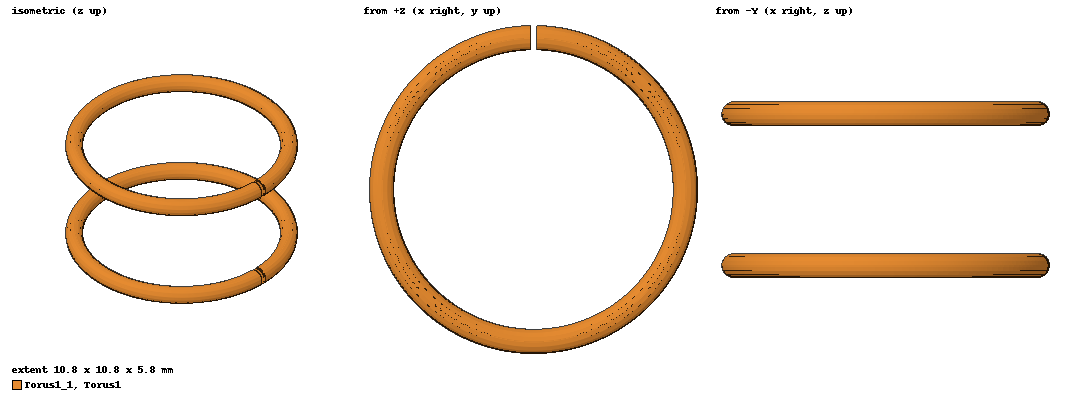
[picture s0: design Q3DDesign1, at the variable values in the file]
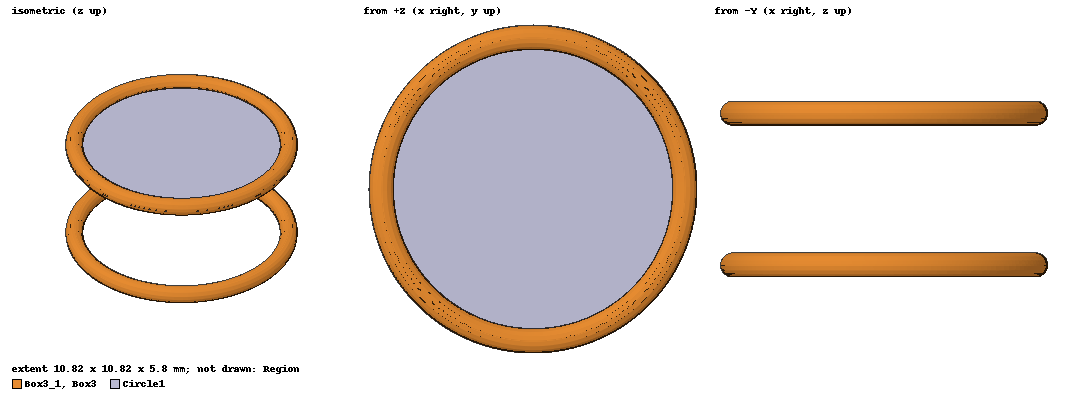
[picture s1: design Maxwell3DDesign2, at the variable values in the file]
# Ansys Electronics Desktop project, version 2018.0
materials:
  vacuum: permittivity=1
  copper: permeability=0.999991 conductivity=58000000

design Q3DDesign1 (Q3D Extractor, model units mm)
options: SParamCalcMethod=EqTransLine Calculate_Lossy_Dielectrics
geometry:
  Torus1 [copper] = torus(axis=Z, centre=(0mm, 0mm, 0mm), major_radius=5mm, minor_radius=0.4mm)
  Box1 = box(corner=(-0.1mm, 5.5mm, -0.5mm), size=(0.2mm, -1mm, 1mm))
  Torus1.subtract(Box1)
  Torus1_1 [copper] = Torus1.duplicate_along_line(step=(0mm, 0mm, 5mm), total=2)
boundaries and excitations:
  Torus1: SignalNet Objects=Torus1
  Torus2: SignalNet Objects=Torus1_1
  Sink1: Sink Faces=Torus1.face(at (0.1, 4.99899, 0)) Net=Torus1
  Source1: Source Faces=Torus1.face(at (-0.1, 4.99899, 0)) Net=Torus1
  Source2: Source Faces=Torus1_1.face(1 of 3) Net=Torus2
  Sink2: Sink Faces=Torus1_1.face(2 of 3) Net=Torus2
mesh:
  SurfApprox1: SurfApproxBased Faces=Torus1.face(all 3) Torus1_1.face(all 3) CurvedSurfaceApproxChoice=UseSlider SliderMeshSettings=9
  initial mesh: GlobalSurfApproximation{CurvedSurfaceApproxChoice=UseSlider SliderMeshSettings=9}
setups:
  Setup1: Matrix AdaptiveFreq=1GHz Cap{MaxPass=10 MinPass=1 MinConvPass=1 PerError=1 PerRefine=30 AutoIncreaseSolutionOrder SolutionOrder=High} DC{Cond{MaxPass=10 MinPass=1 MinConvPass=1 PerError=1 PerRefine=30} Mult{MaxPass=1 MinPass=1 MinConvPass=1 PerError=1 PerRefine=30} Solution_Order=Normal} AC{MaxPass=10 MinPass=1 MinConvPass=1 PerError=1 PerRefine=30}
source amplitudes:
  Torus1:Source1: AC 1A
  Torus2:Source2: AC 0A
  Torus1: Cap 1V 0deg
  Torus2: Cap 0V 0deg
  Torus1:Source1: DC 1A
  Torus2:Source2: DC 0A

design Maxwell3DDesign2 (Maxwell 3D, Magnetostatic, model units mm)
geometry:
  Torus1 = torus(axis=Z, centre=(0mm, 0mm, 0mm), major_radius=5mm, minor_radius=0.4mm)
  Box1 = box(corner=(-0.1mm, 5.5mm, -0.5mm), size=(0.2mm, -1mm, 1mm))
  Torus1.subtract(Box1)
  Torus1_1 = Torus1.duplicate_along_line(step=(0mm, 0mm, 5mm), total=2)
  Region [vacuum] = region(percentage_offset=150 on all sides)
  Rectangle1 = rectangle(corner=(-0.1mm, 4.6mm, -0.4mm), y_size=0.8mm, z_size=0.8mm)
  Rectangle1.intersect(Torus1)
  Torus3 = torus(axis=Z, centre=(0mm, 0mm, 0mm), major_radius=5mm, minor_radius=0.4mm)
  Box3 [copper] = box(corner=(-0.1mm, 5.5mm, -0.5mm), size=(0.2mm, -1mm, 1mm))
  Circle1 = circle(normal=Z, centre=(0mm, 0mm, 0mm), radius=5.4083269mm)
  Circle1.move(0mm, 0mm, 5mm)
  Box3.intersect(Torus3)
  Torus4 = torus(axis=Z, centre=(0mm, 0mm, 0mm), major_radius=5mm, minor_radius=0.4mm)
  Box4 = box(corner=(-0.1mm, 5.5mm, -0.5mm), size=(0.2mm, -1mm, 1mm))
  Torus4.subtract(Box4)
  Box3_1 [copper] = Box3.duplicate_along_line(step=(0mm, 0mm, 5mm), total=2)
  Box3.unite(Torus4)
  Box3_1.unite(Torus1_1)
  Box3.separate_bodies()
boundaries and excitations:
  Current1: Current Objects=Rectangle1 Current=1A IsSolid=true Point_out_of_terminal=false
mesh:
  initial mesh: GlobalSurfApproximation{CurvedSurfaceApproxChoice=UseSlider SliderMeshSettings=9} GlobalCurvilinear{Apply}
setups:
  Setup1: Magnetostatic MaximumPasses=10 MinimumPasses=2 MinimumConvergedPasses=1 PercentRefinement=30 PercentError=1 NonLinearResidual=0.001
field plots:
  J_Vector1: J in Box3 on Setup1 : LastAdaptive
  B_Vector1: B over a plane on Setup1 : LastAdaptive
  B_Vector2: B over Circle1.face(#259) on Setup1 : LastAdaptive
